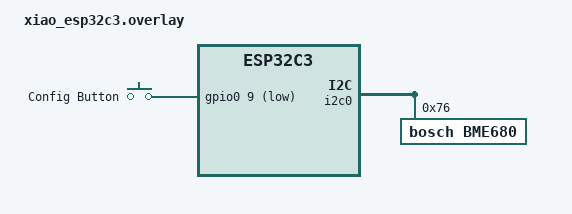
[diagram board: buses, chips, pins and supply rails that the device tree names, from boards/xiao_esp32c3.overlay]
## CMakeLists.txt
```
cmake_minimum_required(VERSION 3.20.0)

find_package(Zephyr REQUIRED HINTS $ENV{ZEPHYR_BASE})
project(sensor)

file(GLOB_RECURSE app_sources src/*.c
                              src/*.h)

target_sources(app PRIVATE ${app_sources})
```

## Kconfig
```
source "Kconfig.zephyr"

module = APP
module-str = APP

menu "Application Settings"

    config APP_WIFI_SSID
        string "WiFi SSID"
        default "env_sensors"
        help
            Service Set Identifier (SSID) of the Wi-Fi network to connect to.

    config APP_WIFI_PASS
        string "WiFi Passphrase"
        default "test1234"
        help
            Passphrase for Wi-Fi network.

    config APP_MQTT_IP
        string "MQTT Broker IP address"
        default "10.20.30.1"
        help
            IP address of the MQTT broker.

    config APP_MQTT_PORT
        int "MQTT Broker port"
        default "1883"
        help
            Port of the MQTT broker.

    config APP_SENSOR_ID
        int "Sensor ID"
        default 0
        help
          A unique identifier for this sensor. This will be used as the
          MQTT Client ID and in the MQTT topic.

    config APP_READ_INTERVAL
        int "Sensor Read Interval (seconds)"
        default 10
        help
            The time in seconds the device will sleep between aggregated readings.

    config APP_SAMPLES_PER_READING
        int "Number of samples to aggregate"
        default 3
        help
            The number of individual sensor measurements to collect before publishing.

endmenu
```

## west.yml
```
manifest:
  remotes:
    - name: zephyrproject-rtos
      url-base: https://github.com/zephyrproject-rtos

  projects:
    - name: zephyr
      remote: zephyrproject-rtos
      revision: v4.1.0
      import:
        name-allowlist:
          - hal_espressif
          - mbedtls
```

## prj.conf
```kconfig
CONFIG_STD_C23=y

CONFIG_MAIN_STACK_SIZE=8192

CONFIG_POSIX_API=y

CONFIG_LOG=y
CONFIG_LOG_MODE_DEFERRED=y
CONFIG_LOG_BACKEND_UART=y

CONFIG_SENSOR=y
CONFIG_SENSOR_ASYNC_API=y

CONFIG_MQTT_LIB=y

CONFIG_WIFI=y
CONFIG_INIT_STACKS=y
CONFIG_NET_L2_WIFI_MGMT=y

CONFIG_NETWORKING=y
CONFIG_NET_IPV4=y
CONFIG_NET_IPV6=n
CONFIG_NET_UDP=y
CONFIG_NET_TCP=y

CONFIG_NET_CONFIG_SETTINGS=y
CONFIG_NET_DHCPV4=y

CONFIG_NET_TX_STACK_SIZE=2048
CONFIG_NET_RX_STACK_SIZE=2048

CONFIG_NET_PKT_RX_COUNT=10
CONFIG_NET_PKT_TX_COUNT=10

CONFIG_NET_BUF_RX_COUNT=20
CONFIG_NET_BUF_TX_COUNT=20

CONFIG_NET_MAX_CONTEXTS=10

CONFIG_NET_L2_ETHERNET=y
CONFIG_POSIX_TIMERS=y
```

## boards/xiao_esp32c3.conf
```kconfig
CONFIG_APP_SENSOR_ID=1
CONFIG_APP_READ_INTERVAL=5
```

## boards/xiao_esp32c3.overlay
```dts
/ {
    aliases {
        env-sensor = &env_sensor;
    };

    buttons {
        compatible = "gpio-keys";
        config_button: button_0 {
            label = "Config Button";
            gpios = <&gpio0 9 GPIO_ACTIVE_LOW>;
        };
    };
};

&i2c0 {
    status = "okay";
    env_sensor: bme680@76 {
        compatible = "bosch,bme680";
        reg = <0x76>;
        label = "BME680";
    };
};
```

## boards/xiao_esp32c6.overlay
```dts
/ {
    aliases {
        env-sensor = &env_sensor;
    };
};

&i2c0 {
    status = "okay";
    env_sensor: bme680@76 {
        compatible = "bosch,bme680";
        reg = <0x76>;
        label = "BME680";
    };
};

&wifi {
    status = "okay";
};
```

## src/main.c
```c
#include <zephyr/kernel.h>
#include <zephyr/logging/log.h>

#include "sensor.h"
#include "network.h"
#include "mqtt.h"

LOG_MODULE_REGISTER(main);

static struct sensor_aggregated_data data = {0};

int main(void)
{
	LOG_INF("Environment Sensor Starting Up");

	if (setup_sensor()) {
		return 0;
	}

	if (connect_wifi()) {
		return 0;
	}

	setup_mqtt();

	for (;;) {
		for (int i = 0; i < CONFIG_APP_SAMPLES_PER_READING; ++i) {
			read_sensor(i);

			if (i == CONFIG_APP_SAMPLES_PER_READING - 1) {
				get_aggregated_data(&data);

				LOG_INF("Aggregated data");
				LOG_INF("  Temperature: " ENTRY_PRI, ENTRY_FMT(data.temp));
				LOG_INF("  Pressure: " ENTRY_PRI, ENTRY_FMT(data.press));
				LOG_INF("  Humidity: " ENTRY_PRI, ENTRY_FMT(data.humid));

				publish_mqtt(&data);
			}

			k_sleep(K_SECONDS(CONFIG_APP_READ_INTERVAL));
		}
	}
}
```

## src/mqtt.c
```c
#include <zephyr/kernel.h>
#include <zephyr/logging/log.h>
#include <zephyr/net/mqtt.h>
#include <zephyr/net/socket.h>
#include <stdint.h>
#include <string.h>

#include "mqtt.h"
#include "sensor.h"

LOG_MODULE_REGISTER(mqtt);

static uint8_t rx_buffer[MQTT_BUFFER_SIZE];
static uint8_t tx_buffer[MQTT_BUFFER_SIZE];

static struct mqtt_client client;
static struct sockaddr_storage broker;

static void get_mqtt_payload(const struct sensor_aggregated_data *const data, uint8_t *buf,
			     size_t size)
{
	snprintk(buf, size,
		 // clang-format off
		 "{"
			 "\"temp\":"
				 "{\"min\":%d.%d,\"max\":%d.%d,\"med\":%d.%d},"
			 "\"pressure\":"
				 "{\"min\":%d.%d,\"max\":%d.%d,\"med\":%d.%d},"
			 "\"humidity\":"
				 "{\"min\":%d.%d,\"max\":%d.%d,\"med\":%d.%d}"
		 "}",
		 // clang-format on
		 SENSOR_DATA_FMT(data->temp.min), SENSOR_DATA_FMT(data->temp.max),
		 SENSOR_DATA_FMT(data->temp.median), SENSOR_DATA_FMT(data->press.min),
		 SENSOR_DATA_FMT(data->press.max), SENSOR_DATA_FMT(data->press.median),
		 SENSOR_DATA_FMT(data->humid.min), SENSOR_DATA_FMT(data->humid.max),
		 SENSOR_DATA_FMT(data->humid.median));

	LOG_INF("Payload: %s", buf);
}

static void mqtt_evt_handler(struct mqtt_client *const client, const struct mqtt_evt *evt)
{
	int err;

	switch (evt->type) {
	case MQTT_EVT_CONNACK:
		if (evt->result != 0) {
			LOG_ERR("MQTT connect failed %d", evt->result);
			break;
		}

		LOG_INF("MQTT client connected");

		break;

	case MQTT_EVT_DISCONNECT:
		LOG_INF("MQTT client disconnected");
		break;

	case MQTT_EVT_PUBACK:
		if (evt->result != 0) {
			LOG_ERR("MQTT PUBACK error %d", evt->result);
			break;
		}

		LOG_INF("PUBACK packet id: %u", evt->param.puback.message_id);

		break;

	case MQTT_EVT_PUBREC:
		if (evt->result != 0) {
			LOG_ERR("MQTT PUBREC error %d", evt->result);
			break;
		}

		LOG_INF("PUBREC packet id: %u", evt->param.pubrec.message_id);

		const struct mqtt_pubrel_param rel_param = {.message_id =
								    evt->param.pubrec.message_id};

		err = mqtt_publish_qos2_release(client, &rel_param);
		if (err != 0) {
			LOG_ERR("Failed to send MQTT PUBREL: %d", err);
		}

		break;

	case MQTT_EVT_PUBCOMP:
		if (evt->result != 0) {
			LOG_ERR("MQTT PUBCOMP error %d", evt->result);
			break;
		}

		LOG_INF("PUBCOMP packet id: %u", evt->param.pubcomp.message_id);

		break;

	case MQTT_EVT_PINGRESP:
		LOG_INF("PINGRESP packet");
		break;

	default:
		break;
	}
}

void setup_mqtt(void)
{
	mqtt_client_init(&client);

	struct sockaddr_in *broker4 = (struct sockaddr_in *)&broker;

	broker4->sin_family = AF_INET;
	broker4->sin_port = htons(MQTT_SERVER_PORT);
	inet_pton(AF_INET, MQTT_SERVER_ADDR, &broker4->sin_addr);

	client.broker = &broker;
	client.evt_cb = mqtt_evt_handler;
	client.client_id.utf8 = MQTT_CLIENT_ID;
	client.client_id.size = strlen(MQTT_CLIENT_ID);
	client.password = NULL;
	client.user_name = NULL;
	client.protocol_version = MQTT_VERSION_3_1_1;

	client.rx_buf = rx_buffer;
	client.rx_buf_size = sizeof(rx_buffer);
	client.tx_buf = tx_buffer;
	client.tx_buf_size = sizeof(tx_buffer);

	client.transport.type = MQTT_TRANSPORT_NON_SECURE;
}

int publish_mqtt(const struct sensor_aggregated_data *const data)
{
	static uint8_t payload[512];
	struct mqtt_publish_param param;
	int ret;

	ret = mqtt_connect(&client);
	if (ret) {
		LOG_ERR("Failed to connect to MQTT (%d)", ret);
		return ret;
	}

	k_sleep(K_MSEC(300));
	mqtt_input(&client);

	param.message.topic.qos = MQTT_QOS_0_AT_MOST_ONCE;
	param.message.topic.topic.utf8 = MQTT_TOPIC;
	param.message.topic.topic.size = strlen(param.message.topic.topic.utf8);

	get_mqtt_payload(data, payload, sizeof(payload));

	param.message.payload.data = payload;
	param.message.payload.len = strlen(param.message.payload.data);
	param.message_id = 0;
	param.dup_flag = 0U;
	param.retain_flag = 0U;

	ret = mqtt_publish(&client, &param);
	if (ret) {
		LOG_ERR("Failed to publish MQTT message (%d)", ret);
		return ret;
	}

	ret = mqtt_disconnect(&client);
	if (ret) {
		LOG_ERR("Failed to disconnect from MQTT (%d)", ret);
	}

	return ret;
}
```

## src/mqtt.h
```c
#ifndef _MQTT_H
#define _MQTT_H

#include <zephyr/toolchain.h>

#include "sensor.h"

#define MQTT_CLIENT_ID   "zephyr_" STRINGIFY(CONFIG_APP_SENSOR_ID)
#define MQTT_BUFFER_SIZE 512
#define MQTT_SERVER_PORT CONFIG_APP_MQTT_PORT
#define MQTT_SERVER_ADDR CONFIG_APP_MQTT_IP

#define MQTT_TOPIC "env/sensor/" STRINGIFY(CONFIG_APP_SENSOR_ID) "/data"

void setup_mqtt(void);

int publish_mqtt(const struct sensor_aggregated_data *const data);

#endif // _MQTT_H
```

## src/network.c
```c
#include <zephyr/kernel.h>
#include <zephyr/net/net_if.h>
#include <zephyr/net/wifi_mgmt.h>
#include <zephyr/logging/log.h>
#include <zephyr/net/net_event.h>

#include "network.h"

LOG_MODULE_REGISTER(network);

K_SEM_DEFINE(network_connected, 0, 1);

static struct net_mgmt_event_callback wifi_cb;
static struct net_mgmt_event_callback ipv4_cb;

static void handle_wifi_connect_result(struct net_mgmt_event_callback *cb)
{
	const struct wifi_status *status = (const struct wifi_status *)cb->info;

	if (status->status) {
		LOG_ERR("Connection request failed (%d)", status->status);
	} else {
		LOG_INF("Connected");
	}
}

static void handle_wifi_disconnect_result(struct net_mgmt_event_callback *cb)
{
	const struct wifi_status *status = (const struct wifi_status *)cb->info;

	if (status->status) {
		LOG_DBG("Disconnection request (%d)", status->status);
	} else {
		LOG_INF("Disconnected");
	}
}

static void handle_ipv4_result(struct net_if *iface)
{
	int i = 0;

	for (i = 0; i < NET_IF_MAX_IPV4_ADDR; i++) {

		char buf[NET_IPV4_ADDR_LEN];
		if (iface->config.ip.ipv4->unicast[i].ipv4.addr_type != NET_ADDR_DHCP) {
			continue;
		}

		LOG_INF("IPv4 address: %s",
			net_addr_ntop(AF_INET,
				      &iface->config.ip.ipv4->unicast[i].ipv4.address.in_addr, buf,
				      sizeof(buf)));
		LOG_INF("Subnet: %s",
			net_addr_ntop(AF_INET, &iface->config.ip.ipv4->unicast[i].netmask, buf,
				      sizeof(buf)));
		LOG_INF("Router: %s",
			net_addr_ntop(AF_INET, &iface->config.ip.ipv4->gw, buf, sizeof(buf)));
		LOG_INF("Lease time: %u seconds", iface->config.dhcpv4.lease_time);
	}

	k_sem_give(&network_connected);
}

static void wifi_mgmt_event_handler(struct net_mgmt_event_callback *cb, uint32_t mgmt_event,
				    struct net_if *iface)
{
	switch (mgmt_event) {

	case NET_EVENT_WIFI_CONNECT_RESULT:
		handle_wifi_connect_result(cb);
		break;

	case NET_EVENT_WIFI_DISCONNECT_RESULT:
		handle_wifi_disconnect_result(cb);
		break;

	case NET_EVENT_IPV4_ADDR_ADD:
		handle_ipv4_result(iface);
		break;

	default:
		break;
	}
}

static void setup_network_cb(void)
{
	net_mgmt_init_event_callback(&wifi_cb, wifi_mgmt_event_handler,
				     NET_EVENT_WIFI_CONNECT_RESULT |
					     NET_EVENT_WIFI_DISCONNECT_RESULT);

	net_mgmt_init_event_callback(&ipv4_cb, wifi_mgmt_event_handler, NET_EVENT_IPV4_ADDR_ADD);

	net_mgmt_add_event_callback(&wifi_cb);
	net_mgmt_add_event_callback(&ipv4_cb);
}

int connect_wifi(void)
{
	setup_network_cb();

	struct net_if *iface = net_if_get_default();

	struct wifi_connect_req_params wifi_params = {0};

	wifi_params.ssid = CONFIG_APP_WIFI_SSID;
	wifi_params.psk = CONFIG_APP_WIFI_PASS;
	wifi_params.ssid_length = strlen(CONFIG_APP_WIFI_SSID);
	wifi_params.psk_length = strlen(CONFIG_APP_WIFI_PASS);
	wifi_params.channel = WIFI_CHANNEL_ANY;
	wifi_params.security = WIFI_SECURITY_TYPE_PSK;
	wifi_params.band = WIFI_FREQ_BAND_2_4_GHZ;
	wifi_params.mfp = WIFI_MFP_OPTIONAL;

	LOG_INF("Connecting to SSID: %s", wifi_params.ssid);

	if (net_mgmt(NET_REQUEST_WIFI_CONNECT, iface, &wifi_params,
		     sizeof(struct wifi_connect_req_params))) {
		LOG_ERR("WiFi Connection Request Failed");
		return -ECONNREFUSED;
	}

	net_dhcpv4_start(iface);

	k_sem_take(&network_connected, K_FOREVER);

	LOG_INF("WiFi Connected");

	return 0;
}
```

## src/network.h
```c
#ifndef _NETWORK_H
#define _NETWORK_H

#include <zephyr/kernel.h>

int connect_wifi(void);

#endif // _NETWORK_H
```

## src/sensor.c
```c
#include <stdlib.h>
#include <zephyr/kernel.h>
#include <zephyr/device.h>
#include <zephyr/logging/log.h>
#include <zephyr/devicetree.h>
#include <zephyr/drivers/sensor.h>

#include "sensor.h"

LOG_MODULE_REGISTER(sensor);

const static struct device *const dev = DEVICE_DT_GET(DT_ALIAS(env_sensor));

struct reading {
	struct sensor_value temp;
	struct sensor_value press;
	struct sensor_value humid;
};

static struct reading readings[CONFIG_APP_SAMPLES_PER_READING] = {0};

static int compare_sensor_values(const void *x, const void *y)
{
	const struct sensor_value *a = *(const struct sensor_value **)x;
	const struct sensor_value *b = *(const struct sensor_value **)y;

	int ret = (a->val1 > b->val1) - (a->val1 < b->val1);

	return ret != 0 ? ret : (a->val2 > b->val2) - (a->val2 < b->val2);
}

int setup_sensor(void)
{
	if (dev == NULL) {
		LOG_ERR("No sensor device found");
		return -ENODEV;
	}

	if (!device_is_ready(dev)) {
		LOG_ERR("Device %s not ready", dev->name);
		return -ENODEV;
	}

	LOG_INF("Sensor found");

	return 0;
}

int read_sensor(int i)
{
	if (i > CONFIG_APP_SAMPLES_PER_READING) {
		LOG_ERR("Reading out of range");
		return -ERANGE;
	}

	struct reading *data = &readings[i];

	int rc = sensor_sample_fetch(dev);
	if (rc != 0) {
		LOG_ERR("Failed to fetch sensor data");
	}

	rc = sensor_channel_get(dev, SENSOR_CHAN_AMBIENT_TEMP, &data->temp);
	if (rc != 0) {
		LOG_ERR("Failed to read temperature data");
	}
	rc = sensor_channel_get(dev, SENSOR_CHAN_PRESS, &data->press);
	if (rc != 0) {
		LOG_ERR("Failed to read pressure data");
	}
	rc = sensor_channel_get(dev, SENSOR_CHAN_HUMIDITY, &data->humid);
	if (rc != 0) {
		LOG_ERR("Failed to read humidity data");
	}

	LOG_DBG("Temperature: " SENSOR_DATA_PRI, SENSOR_DATA_FMT(data->temp));
	LOG_DBG("Pressure: " SENSOR_DATA_PRI, SENSOR_DATA_FMT(data->press));
	LOG_DBG("Humidity: " SENSOR_DATA_PRI, SENSOR_DATA_FMT(data->humid));

	return 0;
}

void get_aggregated_data(struct sensor_aggregated_data *data)
{
	struct sensor_value *vals[CONFIG_APP_SAMPLES_PER_READING];

	for (int i = 0; i < CONFIG_APP_SAMPLES_PER_READING; ++i) {
		vals[i] = &readings[i].temp;
	}

	qsort(vals, CONFIG_APP_SAMPLES_PER_READING, sizeof(struct sensor_value *),
	      compare_sensor_values);

	data->temp = (struct entry){.min = *vals[0],
				    .max = *vals[CONFIG_APP_SAMPLES_PER_READING - 1],
				    .median = *vals[CONFIG_APP_SAMPLES_PER_READING / 2]};

	for (int i = 0; i < CONFIG_APP_SAMPLES_PER_READING; ++i) {
		vals[i] = &readings[i].press;
	}

	qsort(vals, CONFIG_APP_SAMPLES_PER_READING, sizeof(struct sensor_value *),
	      compare_sensor_values);

	data->press = (struct entry){.min = *vals[0],
				     .max = *vals[CONFIG_APP_SAMPLES_PER_READING - 1],
				     .median = *vals[CONFIG_APP_SAMPLES_PER_READING / 2]};

	for (int i = 0; i < CONFIG_APP_SAMPLES_PER_READING; ++i) {
		vals[i] = &readings[i].humid;
	}

	qsort(vals, CONFIG_APP_SAMPLES_PER_READING, sizeof(struct sensor_value *),
	      compare_sensor_values);

	data->humid = (struct entry){.min = *vals[0],
				     .max = *vals[CONFIG_APP_SAMPLES_PER_READING - 1],
				     .median = *vals[CONFIG_APP_SAMPLES_PER_READING / 2]};
}
```

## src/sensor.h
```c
#ifndef _SENSOR_H
#define _SENSOR_H

#include <zephyr/toolchain.h>
#include <zephyr/drivers/sensor.h>

#define READ_PRECISION 3

// clang-format off
#define SENSOR_DATA_PRI "%d.%0" STRINGIFY(READ_PRECISION) "d"
#define SENSOR_DATA_FMT(data) \
	(data).val1, ((data).val2 / (10 * (6 - READ_PRECISION)))

#define ENTRY_PRI \
	"min: " SENSOR_DATA_PRI \
	" max: " SENSOR_DATA_PRI \
	" median: " SENSOR_DATA_PRI

#define ENTRY_FMT(entry) \
	SENSOR_DATA_FMT((entry).min), \
	SENSOR_DATA_FMT((entry).max), \
	SENSOR_DATA_FMT((entry).median)
// clang-format on

struct entry {
	struct sensor_value min;
	struct sensor_value max;
	struct sensor_value median;
};

struct sensor_aggregated_data {
	struct entry temp;
	struct entry press;
	struct entry humid;
};

int setup_sensor(void);

int read_sensor(int reading);

void get_aggregated_data(struct sensor_aggregated_data *data);

#endif // _SENSOR_H
```
